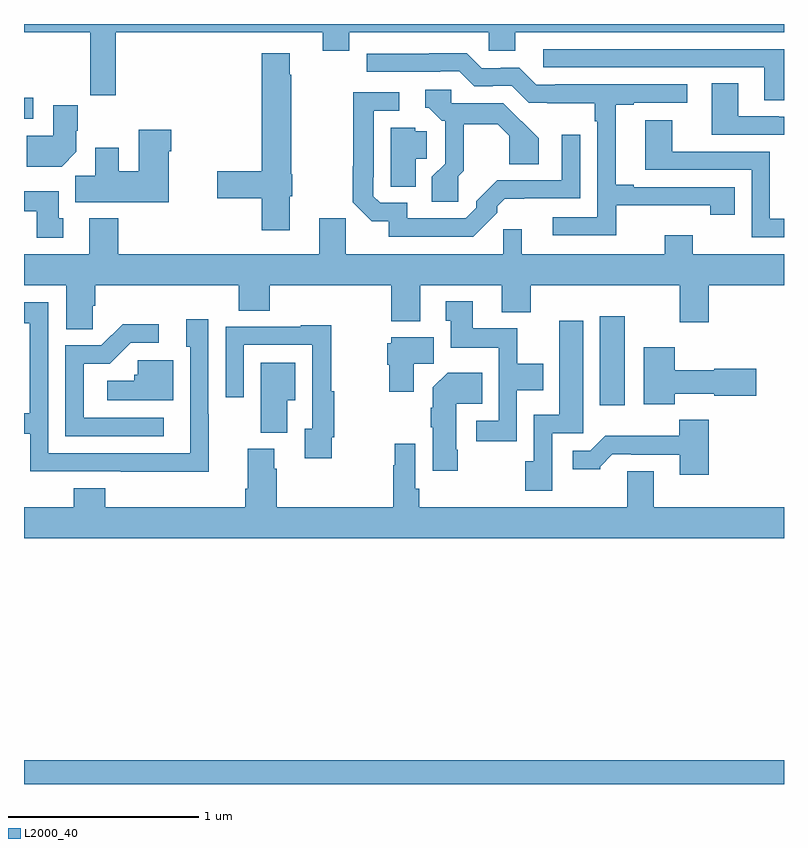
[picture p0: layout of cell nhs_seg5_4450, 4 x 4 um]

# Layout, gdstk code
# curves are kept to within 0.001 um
import gdstk
lib = gdstk.Library(unit=1e-6, precision=1e-09)
def R(c, l, rs):  # rectangles x0, y0, x1, y1
    for r in rs: c.add(gdstk.rectangle(r[:2], r[2:], *l))
def P(c, l, *ps):  # polygons
    for p in ps: c.add(gdstk.Polygon(p, *l))
L2000_40 = (2000, 40)

nhs_seg5_4450 = lib.new_cell('nhs_seg5_4450')
R(nhs_seg5_4450, L2000_40, [(373,856.799,377,856.924), (376.031,858.792,376.162,859.261), (373,860.301,373.048,860.41)])
P(nhs_seg5_4450, L2000_40, [(373,860.756),(373.348,860.756),(373.348,860.536),(373.349,860.536),(373.349,860.424),(373.484,860.424),(373.484,860.756),(374.573,860.756),(374.573,860.657),(374.713,860.657),(374.713,860.756),(375.447,860.756),(375.447,860.658),(375.586,860.658),(375.586,860.756),(377,860.756),(377,860.799),(373,860.799)],
  [(377,860.667),(375.732,860.667),(375.732,860.571),(376.895,860.571),(376.895,860.398),(377,860.398)],
  [(374.398,859.893),(374.412,859.893),(374.412,860.007),(374.406,860.007),(374.406,860.531),(374.398,860.531),(374.398,860.644),(374.252,860.644),(374.252,860.024),(374.016,860.024),(374.016,859.882),(374.252,859.882),(374.252,859.713),(374.398,859.713)],
  [(376.118,859.844),(376.613,859.844),(376.613,859.794),(376.741,859.794),(376.741,859.941),(376.21,859.941),(376.21,859.954),(376.114,859.954),(376.114,860.373),(376.21,860.373),(376.21,860.385),(376.492,860.385),(376.492,860.481),(375.796,860.481),(375.796,860.478),(375.696,860.478),(375.606,860.568),(375.509,860.568),(375.509,860.565),(375.408,860.565),(375.329,860.644),(374.805,860.643),(374.805,860.547),(375.191,860.547),(375.191,860.55),(375.291,860.55),(375.369,860.472),(375.467,860.472),(375.467,860.475),(375.567,860.475),(375.657,860.385),(375.754,860.385),(375.754,860.382),(376.005,860.382),(376.005,860.288),(376.017,860.288),(376.017,859.782),(375.783,859.782),(375.783,859.686),(376.118,859.686)],
  [(377,860.31),(376.973,860.31),(376.973,860.313),(376.759,860.313),(376.759,860.486),(376.619,860.486),(376.619,860.217),(377,860.217)],
  [(375.285,859.997),(375.314,860.026),(375.314,860.271),(375.493,860.271),(375.555,860.21),(375.555,860.062),(375.709,860.062),(375.709,860.198),(375.523,860.382),(375.249,860.382),(375.249,860.454),(375.113,860.454),(375.113,860.358),(375.129,860.358),(375.198,860.289),(375.216,860.289),(375.216,860.064),(375.146,859.994),(375.146,859.863),(375.285,859.863)],
  [(375.49,859.805),(375.49,859.84),(375.53,859.88),(375.927,859.881),(375.927,860.215),(375.831,860.215),(375.831,859.977),(375.491,859.977),(375.381,859.867),(375.381,859.833),(375.324,859.776),(375.018,859.776),(375.018,859.857),(374.874,859.857),(374.838,859.893),(374.838,859.993),(374.841,859.993),(374.841,860.343),(374.974,860.343),(374.974,860.439),(374.733,860.439),(374.733,860.051),(374.73,860.051),(374.73,859.86),(374.83,859.761),(374.92,859.761),(374.92,859.68),(375.364,859.68)],
  [(373.276,860.126),(373.276,860.236),(373.283,860.236),(373.283,860.371),(373.154,860.371),(373.154,860.212),(373.015,860.212),(373.015,860.048),(373.198,860.048)],
  [(377,859.773),(376.926,859.773),(376.926,860.127),(376.411,860.127),(376.411,860.293),(376.271,860.293),(376.271,860.031),(376.83,860.031),(376.83,859.677),(377,859.677)],
  [(375.061,860.09),(375.12,860.09),(375.12,860.235),(375.06,860.235),(375.06,860.254),(374.931,860.254),(374.931,859.942),(375.061,859.942)],
  [(373.762,860.129),(373.775,860.129),(373.775,860.242),(373.604,860.242),(373.604,860.024),(373.498,860.024),(373.498,860.149),(373.376,860.149),(373.376,860),(373.271,860),(373.271,859.862),(373.762,859.862)],
  [(373.207,859.776),(373.183,859.776),(373.183,859.918),(373,859.918),(373,859.814),(373.067,859.814),(373.067,859.674),(373.207,859.674)],
  [(373.362,859.315),(373.376,859.315),(373.376,859.424),(374.129,859.424),(374.129,859.291),(374.294,859.291),(374.294,859.424),(374.933,859.424),(374.933,859.235),(375.085,859.235),(375.085,859.424),(375.515,859.424),(375.515,859.283),(375.668,859.283),(375.668,859.424),(376.451,859.424),(376.451,859.23),(376.604,859.23),(376.604,859.424),(377,859.424),(377,859.588),(376.521,859.588),(376.521,859.687),(376.373,859.687),(376.373,859.588),(375.619,859.588),(375.619,859.718),(375.523,859.718),(375.523,859.588),(374.693,859.588),(374.693,859.776),(374.555,859.776),(374.555,859.588),(373.496,859.588),(373.496,859.777),(373.343,859.777),(373.343,859.588),(373,859.588),(373,859.424),(373.223,859.424),(373.223,859.192),(373.362,859.192)],
  [(375.594,858.872),(375.733,858.872),(375.733,859.012),(375.597,859.012),(375.597,859.198),(375.361,859.198),(375.361,859.339),(375.221,859.339),(375.221,859.236),(375.245,859.236),(375.245,859.094),(375.498,859.094),(375.498,858.711),(375.381,858.711),(375.381,858.603),(375.594,858.603)],
  [(373.973,858.746),(373.971,858.746),(373.971,859.246),(373.853,859.246),(373.853,859.101),(373.875,859.101),(373.875,858.54),(373.128,858.54),(373.128,859.335),(373,859.335),(373,859.224),(373.031,859.224),(373.031,858.751),(373,858.751),(373,858.642),(373.032,858.642),(373.032,858.444),(373.51,858.444),(373.51,858.443),(373.973,858.443)],
  [(375.78,858.645),(375.943,858.645),(375.943,859.237),(375.818,859.237),(375.818,858.742),(375.684,858.742),(375.684,858.498),(375.637,858.498),(375.637,858.342),(375.78,858.342)],
  [(373.735,858.726),(373.314,858.726),(373.314,859.011),(373.452,859.011),(373.563,859.122),(373.708,859.122),(373.708,859.22),(373.52,859.22),(373.407,859.107),(373.218,859.107),(373.218,858.63),(373.735,858.63)],
  [(374.621,858.625),(374.633,858.625),(374.633,858.867),(374.618,858.867),(374.618,859.213),(374.457,859.213),(374.457,859.206),(374.061,859.206),(374.061,858.834),(374.157,858.834),(374.157,859.11),(374.517,859.11),(374.517,858.669),(374.477,858.669),(374.477,858.513),(374.621,858.513)],
  [(375.052,859.012),(375.157,859.012),(375.157,859.15),(374.934,859.15),(374.934,859.119),(374.912,859.119),(374.912,859.005),(374.923,859.005),(374.923,858.864),(375.052,858.864)],
  [(376.424,858.854),(376.632,858.854),(376.632,858.842),(376.855,858.842),(376.855,858.984),(376.632,858.984),(376.632,858.976),(376.426,858.976),(376.426,859.099),(376.262,859.099),(376.262,858.797),(376.424,858.797)],
  [(373.786,859.029),(373.599,859.029),(373.599,858.954),(373.58,858.954),(373.58,858.922),(373.437,858.922),(373.437,858.818),(373.786,858.818)],
  [(374.386,858.818),(374.428,858.818),(374.428,859.015),(374.246,859.015),(374.246,858.649),(374.386,858.649)],
  [(375.282,858.559),(375.274,858.559),(375.274,858.8),(375.413,858.8),(375.413,858.964),(375.23,858.964),(375.152,858.886),(375.152,858.779),(375.14,858.779),(375.14,858.676),(375.152,858.676),(375.152,858.447),(375.282,858.447)],
  [(376.604,858.715),(376.449,858.715),(376.449,858.631),(376.06,858.631),(375.981,858.552),(375.888,858.552),(375.888,858.455),(376.032,858.455),(376.032,858.47),(376.096,858.534),(376.195,858.534),(376.195,858.531),(376.451,858.531),(376.451,858.426),(376.604,858.426)],
  [(377,858.256),(376.315,858.256),(376.315,858.446),(376.175,858.446),(376.175,858.256),(375.08,858.256),(375.08,858.352),(375.06,858.352),(375.06,858.589),(374.952,858.589),(374.952,858.476),(374.944,858.476),(374.944,858.256),(374.33,858.256),(374.33,858.458),(374.317,858.458),(374.317,858.564),(374.177,858.564),(374.177,858.352),(374.165,858.352),(374.165,858.256),(373.427,858.256),(373.427,858.355),(373.262,858.355),(373.262,858.256),(373,858.256),(373,858.092),(377,858.092)])

lib.write_gds('nhs_seg5_4450.gds')
